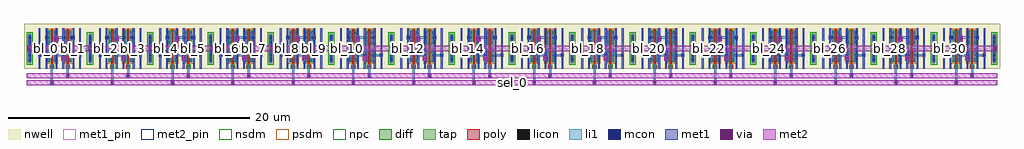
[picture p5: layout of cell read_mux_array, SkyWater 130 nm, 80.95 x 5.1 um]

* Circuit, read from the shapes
.subckt read_mux_array bl_0 bl_1 bl_10 bl_11 bl_12 bl_13 bl_14 bl_15 bl_16 bl_17 bl_18 bl_19 bl_2 bl_20 bl_21 bl_22 bl_23 bl_24 bl_25 bl_26 bl_27 bl_28 bl_29 bl_3 bl_30 bl_31 bl_4 bl_5 bl_6 bl_7 bl_8 bl_9 bl_out_0 bl_out_1 bl_out_10 bl_out_11 bl_out_12 bl_out_13 bl_out_14 bl_out_15 bl_out_2 bl_out_3 bl_out_4 bl_out_5 bl_out_6 bl_out_7 bl_out_8 bl_out_9 br_0 br_1 br_10 br_11 br_12 br_13 br_14 br_15 br_16 br_17 br_18 br_19 br_2 br_20 br_21 br_22 br_23 br_24 br_25 br_26 br_27 br_28 br_29 br_3 br_30 br_31 br_4 br_5 br_6 br_7 br_8 br_9 br_out_0 br_out_1 br_out_10 br_out_11 br_out_12 br_out_13 br_out_14 br_out_15 br_out_2 br_out_3 br_out_4 br_out_5 br_out_6 br_out_7 br_out_8 br_out_9 sel_0 sel_1 vdd
XM1 br_out_0 sel_0 br_0 vdd sky130_fd_pr__pfet_01v8 w=1.2 l=0.15
XM2 bl_out_0 sel_0 bl_0 vdd sky130_fd_pr__pfet_01v8 w=1.2 l=0.15
XM3 br_1 sel_1 br_out_0 vdd sky130_fd_pr__pfet_01v8 w=1.2 l=0.15
XM4 bl_1 sel_1 bl_out_0 vdd sky130_fd_pr__pfet_01v8 w=1.2 l=0.15
XM5 br_out_1 sel_0 br_2 vdd sky130_fd_pr__pfet_01v8 w=1.2 l=0.15
XM6 bl_out_1 sel_0 bl_2 vdd sky130_fd_pr__pfet_01v8 w=1.2 l=0.15
XM7 br_3 sel_1 br_out_1 vdd sky130_fd_pr__pfet_01v8 w=1.2 l=0.15
XM8 bl_3 sel_1 bl_out_1 vdd sky130_fd_pr__pfet_01v8 w=1.2 l=0.15
XM9 br_out_2 sel_0 br_4 vdd sky130_fd_pr__pfet_01v8 w=1.2 l=0.15
XM10 bl_out_2 sel_0 bl_4 vdd sky130_fd_pr__pfet_01v8 w=1.2 l=0.15
XM11 br_5 sel_1 br_out_2 vdd sky130_fd_pr__pfet_01v8 w=1.2 l=0.15
XM12 bl_5 sel_1 bl_out_2 vdd sky130_fd_pr__pfet_01v8 w=1.2 l=0.15
XM13 br_out_3 sel_0 br_6 vdd sky130_fd_pr__pfet_01v8 w=1.2 l=0.15
XM14 bl_out_3 sel_0 bl_6 vdd sky130_fd_pr__pfet_01v8 w=1.2 l=0.15
XM15 br_7 sel_1 br_out_3 vdd sky130_fd_pr__pfet_01v8 w=1.2 l=0.15
XM16 bl_7 sel_1 bl_out_3 vdd sky130_fd_pr__pfet_01v8 w=1.2 l=0.15
XM17 br_out_4 sel_0 br_8 vdd sky130_fd_pr__pfet_01v8 w=1.2 l=0.15
XM18 bl_out_4 sel_0 bl_8 vdd sky130_fd_pr__pfet_01v8 w=1.2 l=0.15
XM19 br_9 sel_1 br_out_4 vdd sky130_fd_pr__pfet_01v8 w=1.2 l=0.15
XM20 bl_9 sel_1 bl_out_4 vdd sky130_fd_pr__pfet_01v8 w=1.2 l=0.15
XM21 br_out_5 sel_0 br_10 vdd sky130_fd_pr__pfet_01v8 w=1.2 l=0.15
XM22 bl_out_5 sel_0 bl_10 vdd sky130_fd_pr__pfet_01v8 w=1.2 l=0.15
XM23 br_11 sel_1 br_out_5 vdd sky130_fd_pr__pfet_01v8 w=1.2 l=0.15
XM24 bl_11 sel_1 bl_out_5 vdd sky130_fd_pr__pfet_01v8 w=1.2 l=0.15
XM25 br_out_6 sel_0 br_12 vdd sky130_fd_pr__pfet_01v8 w=1.2 l=0.15
XM26 bl_out_6 sel_0 bl_12 vdd sky130_fd_pr__pfet_01v8 w=1.2 l=0.15
XM27 br_13 sel_1 br_out_6 vdd sky130_fd_pr__pfet_01v8 w=1.2 l=0.15
XM28 bl_13 sel_1 bl_out_6 vdd sky130_fd_pr__pfet_01v8 w=1.2 l=0.15
XM29 br_out_7 sel_0 br_14 vdd sky130_fd_pr__pfet_01v8 w=1.2 l=0.15
XM30 bl_out_7 sel_0 bl_14 vdd sky130_fd_pr__pfet_01v8 w=1.2 l=0.15
XM31 br_15 sel_1 br_out_7 vdd sky130_fd_pr__pfet_01v8 w=1.2 l=0.15
XM32 bl_15 sel_1 bl_out_7 vdd sky130_fd_pr__pfet_01v8 w=1.2 l=0.15
XM33 br_out_8 sel_0 br_16 vdd sky130_fd_pr__pfet_01v8 w=1.2 l=0.15
XM34 bl_out_8 sel_0 bl_16 vdd sky130_fd_pr__pfet_01v8 w=1.2 l=0.15
XM35 br_17 sel_1 br_out_8 vdd sky130_fd_pr__pfet_01v8 w=1.2 l=0.15
XM36 bl_17 sel_1 bl_out_8 vdd sky130_fd_pr__pfet_01v8 w=1.2 l=0.15
XM37 br_out_9 sel_0 br_18 vdd sky130_fd_pr__pfet_01v8 w=1.2 l=0.15
XM38 bl_out_9 sel_0 bl_18 vdd sky130_fd_pr__pfet_01v8 w=1.2 l=0.15
XM39 br_19 sel_1 br_out_9 vdd sky130_fd_pr__pfet_01v8 w=1.2 l=0.15
XM40 bl_19 sel_1 bl_out_9 vdd sky130_fd_pr__pfet_01v8 w=1.2 l=0.15
XM41 br_out_10 sel_0 br_20 vdd sky130_fd_pr__pfet_01v8 w=1.2 l=0.15
XM42 bl_out_10 sel_0 bl_20 vdd sky130_fd_pr__pfet_01v8 w=1.2 l=0.15
XM43 br_21 sel_1 br_out_10 vdd sky130_fd_pr__pfet_01v8 w=1.2 l=0.15
XM44 bl_21 sel_1 bl_out_10 vdd sky130_fd_pr__pfet_01v8 w=1.2 l=0.15
XM45 br_out_11 sel_0 br_22 vdd sky130_fd_pr__pfet_01v8 w=1.2 l=0.15
XM46 bl_out_11 sel_0 bl_22 vdd sky130_fd_pr__pfet_01v8 w=1.2 l=0.15
XM47 br_23 sel_1 br_out_11 vdd sky130_fd_pr__pfet_01v8 w=1.2 l=0.15
XM48 bl_23 sel_1 bl_out_11 vdd sky130_fd_pr__pfet_01v8 w=1.2 l=0.15
XM49 br_out_12 sel_0 br_24 vdd sky130_fd_pr__pfet_01v8 w=1.2 l=0.15
XM50 bl_out_12 sel_0 bl_24 vdd sky130_fd_pr__pfet_01v8 w=1.2 l=0.15
XM51 br_25 sel_1 br_out_12 vdd sky130_fd_pr__pfet_01v8 w=1.2 l=0.15
XM52 bl_25 sel_1 bl_out_12 vdd sky130_fd_pr__pfet_01v8 w=1.2 l=0.15
XM53 br_out_13 sel_0 br_26 vdd sky130_fd_pr__pfet_01v8 w=1.2 l=0.15
XM54 bl_out_13 sel_0 bl_26 vdd sky130_fd_pr__pfet_01v8 w=1.2 l=0.15
XM55 br_27 sel_1 br_out_13 vdd sky130_fd_pr__pfet_01v8 w=1.2 l=0.15
XM56 bl_27 sel_1 bl_out_13 vdd sky130_fd_pr__pfet_01v8 w=1.2 l=0.15
XM57 br_out_14 sel_0 br_28 vdd sky130_fd_pr__pfet_01v8 w=1.2 l=0.15
XM58 bl_out_14 sel_0 bl_28 vdd sky130_fd_pr__pfet_01v8 w=1.2 l=0.15
XM59 br_29 sel_1 br_out_14 vdd sky130_fd_pr__pfet_01v8 w=1.2 l=0.15
XM60 bl_29 sel_1 bl_out_14 vdd sky130_fd_pr__pfet_01v8 w=1.2 l=0.15
XM61 br_out_15 sel_0 br_30 vdd sky130_fd_pr__pfet_01v8 w=1.2 l=0.15
XM62 bl_out_15 sel_0 bl_30 vdd sky130_fd_pr__pfet_01v8 w=1.2 l=0.15
XM63 br_31 sel_1 br_out_15 vdd sky130_fd_pr__pfet_01v8 w=1.2 l=0.15
XM64 bl_31 sel_1 bl_out_15 vdd sky130_fd_pr__pfet_01v8 w=1.2 l=0.15
.ends

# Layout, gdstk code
from math import pi, radians
import gdstk
lib = gdstk.Library(unit=1e-6, precision=1e-09)
def R(c, l, rs):  # rectangles x0, y0, x1, y1
    for r in rs: c.add(gdstk.rectangle(r[:2], r[2:], *l))
def A(c, l, x, y, w, h, nx, ny, dx, dy):  # array of equal rectangles
    R(c, l, [(x+i*dx, y+j*dy, x+i*dx+w, y+j*dy+h) for i in range(nx) for j in range(ny)])
nwell = (64, 20)
diff = (65, 20)
tap = (65, 44)
poly = (66, 20)
licon = (66, 44)
li1 = (67, 20)
mcon = (67, 44)
met1_pin = (68, 16)
met1 = (68, 20)
via = (68, 44)
met2_pin = (69, 16)
met2 = (69, 20)
nsdm = (93, 44)
psdm = (94, 20)
npc = (95, 20)

polyc_1x1h = lib.new_cell('polyc_1x1h')
R(polyc_1x1h, poly, [(-0.08,-0.05,0.25,0.22)])
R(polyc_1x1h, licon, [(0,0,0.17,0.17)])
R(polyc_1x1h, li1, [(-0.08,0,0.25,0.17)])
R(polyc_1x1h, npc, [(-0.1,-0.1,0.27,0.27)])

pdiffc_1x3h = lib.new_cell('pdiffc_1x3h')
R(pdiffc_1x3h, nwell, [(-0.24,-0.22,1.09,0.39)])
R(pdiffc_1x3h, diff, [(-0.06,-0.04,0.91,0.21)])
A(pdiffc_1x3h, licon, 0, 0, 0.17, 0.17, 3, 1, 0.34, 0)
R(pdiffc_1x3h, li1, [(-0.08,0,0.93,0.17)])
R(pdiffc_1x3h, psdm, [(-0.185,-0.165,1.035,0.335)])

ptx__pmos_svt_1200_150_1 = lib.new_cell('ptx__pmos_svt_1200_150_1__pmos_svt_1200_150_1')
R(ptx__pmos_svt_1200_150_1, nwell, [(-0.18,-0.18,1.38,0.86), (1.29,-0.18,2.85,0.86)])
R(ptx__pmos_svt_1200_150_1, diff, [(0,0,1.2,0.68), (1.47,0,2.67,0.68)])
R(ptx__pmos_svt_1200_150_1, poly, [(-0.19,0.265,2.8,0.415)])
R(ptx__pmos_svt_1200_150_1, psdm, [(-0.125,-0.125,1.325,0.805), (-0.125,-0.125,2.795,0.805)])
R(ptx__pmos_svt_1200_150_1, npc, [(-0.54,0.155,-0.17,0.525)])
ptx__pmos_svt_1200_150_1.add(gdstk.Reference(polyc_1x1h, (-0.44,0.255)))
ptx__pmos_svt_1200_150_1.add(gdstk.Reference(pdiffc_1x3h, (0.175,0.04)))
ptx__pmos_svt_1200_150_1.add(gdstk.Reference(pdiffc_1x3h, (1.645,0.04)))
ptx__pmos_svt_1200_150_1.add(gdstk.Reference(pdiffc_1x3h, (0.175,0.47)))
ptx__pmos_svt_1200_150_1.add(gdstk.Reference(pdiffc_1x3h, (1.645,0.47)))

viali_1x1v = lib.new_cell('viali_1x1v')
R(viali_1x1v, li1, [(0,0,0.17,0.17)])
R(viali_1x1v, mcon, [(0,0,0.17,0.17)])
R(viali_1x1v, met1, [(-0.03,-0.06,0.2,0.23)])

read_mux_route = lib.new_cell('read_mux_route')
R(read_mux_route, li1, [(-0.64,0.095,-0.47,1.105), (-0.21,0.095,-0.04,1.105), (1.1,0.095,1.27,1.105), (-1.435,0.515,-0.47,0.685), (-0.21,0.515,0.67,0.685), (1.1,0.515,2.065,0.685), (-0.64,1.565,-0.47,2.575), (-0.21,1.565,-0.04,2.575), (1.1,1.565,1.27,2.575), (-0.875,1.985,-0.47,2.155), (-0.21,1.985,0.67,2.155), (1.1,1.985,1.505,2.155)])
R(read_mux_route, met1, [(-1.435,-0.54,-1.295,2.85), (-0.875,-0.54,-0.735,2.85), (-0.035,-0.54,0.105,2.85), (0.525,-0.54,0.665,2.85), (1.365,-0.54,1.505,2.85), (1.925,-0.54,2.065,2.85)])
read_mux_route.add(gdstk.Reference(viali_1x1v, (-0.875,1.985)))
read_mux_route.add(gdstk.Reference(viali_1x1v, (1.335,1.985)))
read_mux_route.add(gdstk.Reference(viali_1x1v, (-1.435,0.515)))
read_mux_route.add(gdstk.Reference(viali_1x1v, (1.895,0.515)))
read_mux_route.add(gdstk.Reference(viali_1x1v, (-0.05,1.985)))
read_mux_route.add(gdstk.Reference(viali_1x1v, (0.51,0.515)))

read_mux = lib.new_cell('read_mux')
R(read_mux, met1, [(-1.435,-0.54,-1.295,2.85), (-0.875,-0.54,-0.735,2.85), (-0.035,-0.54,0.105,2.85), (0.525,-0.54,0.665,2.85), (1.365,-0.54,1.505,2.85), (1.925,-0.54,2.065,2.85)])
read_mux.add(gdstk.Reference(ptx__pmos_svt_1200_150_1, (0,0), rotation=pi/2))
read_mux.add(gdstk.Reference(ptx__pmos_svt_1200_150_1, (1.31,0), rotation=pi/2))
read_mux.add(gdstk.Reference(read_mux_route, (0,0)))

read_mux_array_core = lib.new_cell('read_mux_array_core')
read_mux_array_core.add(gdstk.Reference(read_mux, (0,0)))
read_mux_array_core.add(gdstk.Reference(read_mux, (5,0)))
read_mux_array_core.add(gdstk.Reference(read_mux, (10,0)))
read_mux_array_core.add(gdstk.Reference(read_mux, (15,0)))
read_mux_array_core.add(gdstk.Reference(read_mux, (20,0)))
read_mux_array_core.add(gdstk.Reference(read_mux, (25,0)))
read_mux_array_core.add(gdstk.Reference(read_mux, (30,0)))
read_mux_array_core.add(gdstk.Reference(read_mux, (35,0)))
read_mux_array_core.add(gdstk.Reference(read_mux, (40,0)))
read_mux_array_core.add(gdstk.Reference(read_mux, (45,0)))
read_mux_array_core.add(gdstk.Reference(read_mux, (50,0)))
read_mux_array_core.add(gdstk.Reference(read_mux, (55,0)))
read_mux_array_core.add(gdstk.Reference(read_mux, (60,0)))
read_mux_array_core.add(gdstk.Reference(read_mux, (65,0)))
read_mux_array_core.add(gdstk.Reference(read_mux, (70,0)))
read_mux_array_core.add(gdstk.Reference(read_mux, (75,0)))

ntap_7x1v = lib.new_cell('ntap_7x1v')
R(ntap_7x1v, tap, [(-0.04,-0.12,0.21,2.33)])
A(ntap_7x1v, licon, 0, 0, 0.17, 0.17, 1, 7, 0, 0.34)
R(ntap_7x1v, li1, [(0,-0.08,0.17,2.29)])
R(ntap_7x1v, nsdm, [(-0.165,-0.245,0.335,2.455)])

viali_6x1v = lib.new_cell('viali_6x1v')
R(viali_6x1v, li1, [(0,0,0.17,1.97)])
A(viali_6x1v, mcon, 0, 0, 0.17, 0.17, 1, 6, 0, 0.36)
R(viali_6x1v, met1, [(-0.03,-0.06,0.2,2.03)])

read_mux_tap_cell = lib.new_cell('read_mux_tap_cell')
read_mux_tap_cell.add(gdstk.Reference(ntap_7x1v, (0,0)))
read_mux_tap_cell.add(gdstk.Reference(viali_6x1v, (0,0.12)))

read_mux_array_taps = lib.new_cell('read_mux_array_taps')
read_mux_array_taps.add(gdstk.Reference(read_mux_tap_cell, (0,0)))
read_mux_array_taps.add(gdstk.Reference(read_mux_tap_cell, (5,0)))
read_mux_array_taps.add(gdstk.Reference(read_mux_tap_cell, (10,0)))
read_mux_array_taps.add(gdstk.Reference(read_mux_tap_cell, (15,0)))
read_mux_array_taps.add(gdstk.Reference(read_mux_tap_cell, (20,0)))
read_mux_array_taps.add(gdstk.Reference(read_mux_tap_cell, (25,0)))
read_mux_array_taps.add(gdstk.Reference(read_mux_tap_cell, (30,0)))
read_mux_array_taps.add(gdstk.Reference(read_mux_tap_cell, (35,0)))
read_mux_array_taps.add(gdstk.Reference(read_mux_tap_cell, (40,0)))
read_mux_array_taps.add(gdstk.Reference(read_mux_tap_cell, (45,0)))
read_mux_array_taps.add(gdstk.Reference(read_mux_tap_cell, (50,0)))
read_mux_array_taps.add(gdstk.Reference(read_mux_tap_cell, (55,0)))
read_mux_array_taps.add(gdstk.Reference(read_mux_tap_cell, (60,0)))
read_mux_array_taps.add(gdstk.Reference(read_mux_tap_cell, (65,0)))
read_mux_array_taps.add(gdstk.Reference(read_mux_tap_cell, (70,0)))
read_mux_array_taps.add(gdstk.Reference(read_mux_tap_cell, (75,0)))
read_mux_array_taps.add(gdstk.Reference(read_mux_tap_cell, (80,0)))

via1_1x1v = lib.new_cell('via1_1x1v')
R(via1_1x1v, met1, [(-0.055,-0.085,0.205,0.235)])
R(via1_1x1v, via, [(0,0,0.15,0.15)])
R(via1_1x1v, met2, [(-0.055,-0.085,0.205,0.235)])

read_mux_array_route = lib.new_cell('read_mux_array_route')
A(read_mux_array_route, li1, -0.425, -1.89, 0.17, 1.54, 16, 1, 5, 0)
A(read_mux_array_route, li1, 0.885, -1.33, 0.17, 0.98, 16, 1, 5, 0)
R(read_mux_array_route, li1, [(-0.425,-0.52,-0.255,-0.19), (0.885,-0.52,1.055,-0.19), (4.575,-0.52,4.745,-0.19), (5.885,-0.52,6.055,-0.19), (9.575,-0.52,9.745,-0.19), (10.885,-0.52,11.055,-0.19), (14.575,-0.52,14.745,-0.19), (15.885,-0.52,16.055,-0.19), (19.575,-0.52,19.745,-0.19), (20.885,-0.52,21.055,-0.19), (24.575,-0.52,24.745,-0.19), (25.885,-0.52,26.055,-0.19), (29.575,-0.52,29.745,-0.19), (30.885,-0.52,31.055,-0.19), (34.575,-0.52,34.745,-0.19), (35.885,-0.52,36.055,-0.19), (39.575,-0.52,39.745,-0.19), (40.885,-0.52,41.055,-0.19), (44.575,-0.52,44.745,-0.19), (45.885,-0.52,46.055,-0.19), (49.575,-0.52,49.745,-0.19), (50.885,-0.52,51.055,-0.19), (54.575,-0.52,54.745,-0.19), (55.885,-0.52,56.055,-0.19), (59.575,-0.52,59.745,-0.19), (60.885,-0.52,61.055,-0.19), (64.575,-0.52,64.745,-0.19), (65.885,-0.52,66.055,-0.19), (69.575,-0.52,69.745,-0.19), (70.885,-0.52,71.055,-0.19), (74.575,-0.52,74.745,-0.19), (75.885,-0.52,76.055,-0.19)])
A(read_mux_array_route, met2, 0.425, 0.145, 0.34, 0.42, 16, 1, 5, 0)
A(read_mux_array_route, met2, -0.135, 1.745, 0.34, 0.42, 16, 1, 5, 0)
R(read_mux_array_route, met2, [(-2.435,-1.89,78.065,-1.47), (-2.435,-1.33,78.065,-0.91), (-2.4,0.945,78.03,1.365)])
read_mux_array_route.add(gdstk.Reference(viali_1x1v, (-0.425,-1.765)))
read_mux_array_route.add(gdstk.Reference(via1_1x1v, (-0.415,-1.755)))
read_mux_array_route.add(gdstk.Reference(viali_1x1v, (0.885,-1.205)))
read_mux_array_route.add(gdstk.Reference(via1_1x1v, (0.895,-1.195)))
read_mux_array_route.add(gdstk.Reference(viali_1x1v, (4.575,-1.765)))
read_mux_array_route.add(gdstk.Reference(via1_1x1v, (4.585,-1.755)))
read_mux_array_route.add(gdstk.Reference(viali_1x1v, (5.885,-1.205)))
read_mux_array_route.add(gdstk.Reference(via1_1x1v, (5.895,-1.195)))
read_mux_array_route.add(gdstk.Reference(viali_1x1v, (9.575,-1.765)))
read_mux_array_route.add(gdstk.Reference(via1_1x1v, (9.585,-1.755)))
read_mux_array_route.add(gdstk.Reference(viali_1x1v, (10.885,-1.205)))
read_mux_array_route.add(gdstk.Reference(via1_1x1v, (10.895,-1.195)))
read_mux_array_route.add(gdstk.Reference(viali_1x1v, (14.575,-1.765)))
read_mux_array_route.add(gdstk.Reference(via1_1x1v, (14.585,-1.755)))
read_mux_array_route.add(gdstk.Reference(viali_1x1v, (15.885,-1.205)))
read_mux_array_route.add(gdstk.Reference(via1_1x1v, (15.895,-1.195)))
read_mux_array_route.add(gdstk.Reference(viali_1x1v, (19.575,-1.765)))
read_mux_array_route.add(gdstk.Reference(via1_1x1v, (19.585,-1.755)))
read_mux_array_route.add(gdstk.Reference(viali_1x1v, (20.885,-1.205)))
read_mux_array_route.add(gdstk.Reference(via1_1x1v, (20.895,-1.195)))
read_mux_array_route.add(gdstk.Reference(viali_1x1v, (24.575,-1.765)))
read_mux_array_route.add(gdstk.Reference(via1_1x1v, (24.585,-1.755)))
read_mux_array_route.add(gdstk.Reference(viali_1x1v, (25.885,-1.205)))
read_mux_array_route.add(gdstk.Reference(via1_1x1v, (25.895,-1.195)))
read_mux_array_route.add(gdstk.Reference(viali_1x1v, (29.575,-1.765)))
read_mux_array_route.add(gdstk.Reference(via1_1x1v, (29.585,-1.755)))
read_mux_array_route.add(gdstk.Reference(viali_1x1v, (30.885,-1.205)))
read_mux_array_route.add(gdstk.Reference(via1_1x1v, (30.895,-1.195)))
read_mux_array_route.add(gdstk.Reference(viali_1x1v, (34.575,-1.765)))
read_mux_array_route.add(gdstk.Reference(via1_1x1v, (34.585,-1.755)))
read_mux_array_route.add(gdstk.Reference(viali_1x1v, (35.885,-1.205)))
read_mux_array_route.add(gdstk.Reference(via1_1x1v, (35.895,-1.195)))
read_mux_array_route.add(gdstk.Reference(viali_1x1v, (39.575,-1.765)))
read_mux_array_route.add(gdstk.Reference(via1_1x1v, (39.585,-1.755)))
read_mux_array_route.add(gdstk.Reference(viali_1x1v, (40.885,-1.205)))
read_mux_array_route.add(gdstk.Reference(via1_1x1v, (40.895,-1.195)))
read_mux_array_route.add(gdstk.Reference(viali_1x1v, (44.575,-1.765)))
read_mux_array_route.add(gdstk.Reference(via1_1x1v, (44.585,-1.755)))
read_mux_array_route.add(gdstk.Reference(viali_1x1v, (45.885,-1.205)))
read_mux_array_route.add(gdstk.Reference(via1_1x1v, (45.895,-1.195)))
read_mux_array_route.add(gdstk.Reference(viali_1x1v, (49.575,-1.765)))
read_mux_array_route.add(gdstk.Reference(via1_1x1v, (49.585,-1.755)))
read_mux_array_route.add(gdstk.Reference(viali_1x1v, (50.885,-1.205)))
read_mux_array_route.add(gdstk.Reference(via1_1x1v, (50.895,-1.195)))
read_mux_array_route.add(gdstk.Reference(viali_1x1v, (54.575,-1.765)))
read_mux_array_route.add(gdstk.Reference(via1_1x1v, (54.585,-1.755)))
read_mux_array_route.add(gdstk.Reference(viali_1x1v, (55.885,-1.205)))
read_mux_array_route.add(gdstk.Reference(via1_1x1v, (55.895,-1.195)))
read_mux_array_route.add(gdstk.Reference(viali_1x1v, (59.575,-1.765)))
read_mux_array_route.add(gdstk.Reference(via1_1x1v, (59.585,-1.755)))
read_mux_array_route.add(gdstk.Reference(viali_1x1v, (60.885,-1.205)))
read_mux_array_route.add(gdstk.Reference(via1_1x1v, (60.895,-1.195)))
read_mux_array_route.add(gdstk.Reference(viali_1x1v, (64.575,-1.765)))
read_mux_array_route.add(gdstk.Reference(via1_1x1v, (64.585,-1.755)))
read_mux_array_route.add(gdstk.Reference(viali_1x1v, (65.885,-1.205)))
read_mux_array_route.add(gdstk.Reference(via1_1x1v, (65.895,-1.195)))
read_mux_array_route.add(gdstk.Reference(viali_1x1v, (69.575,-1.765)))
read_mux_array_route.add(gdstk.Reference(via1_1x1v, (69.585,-1.755)))
read_mux_array_route.add(gdstk.Reference(viali_1x1v, (70.885,-1.205)))
read_mux_array_route.add(gdstk.Reference(via1_1x1v, (70.895,-1.195)))
read_mux_array_route.add(gdstk.Reference(viali_1x1v, (74.575,-1.765)))
read_mux_array_route.add(gdstk.Reference(via1_1x1v, (74.585,-1.755)))
read_mux_array_route.add(gdstk.Reference(viali_1x1v, (75.885,-1.205)))
read_mux_array_route.add(gdstk.Reference(via1_1x1v, (75.895,-1.195)))
read_mux_array_route.add(gdstk.Reference(via1_1x1v, (-2.26,1.08)))
read_mux_array_route.add(gdstk.Reference(via1_1x1v, (2.74,1.08)))
read_mux_array_route.add(gdstk.Reference(via1_1x1v, (7.74,1.08)))
read_mux_array_route.add(gdstk.Reference(via1_1x1v, (12.74,1.08)))
read_mux_array_route.add(gdstk.Reference(via1_1x1v, (17.74,1.08)))
read_mux_array_route.add(gdstk.Reference(via1_1x1v, (22.74,1.08)))
read_mux_array_route.add(gdstk.Reference(via1_1x1v, (27.74,1.08)))
read_mux_array_route.add(gdstk.Reference(via1_1x1v, (32.74,1.08)))
read_mux_array_route.add(gdstk.Reference(via1_1x1v, (37.74,1.08)))
read_mux_array_route.add(gdstk.Reference(via1_1x1v, (42.74,1.08)))
read_mux_array_route.add(gdstk.Reference(via1_1x1v, (47.74,1.08)))
read_mux_array_route.add(gdstk.Reference(via1_1x1v, (52.74,1.08)))
read_mux_array_route.add(gdstk.Reference(via1_1x1v, (57.74,1.08)))
read_mux_array_route.add(gdstk.Reference(via1_1x1v, (62.74,1.08)))
read_mux_array_route.add(gdstk.Reference(via1_1x1v, (67.74,1.08)))
read_mux_array_route.add(gdstk.Reference(via1_1x1v, (72.74,1.08)))
read_mux_array_route.add(gdstk.Reference(via1_1x1v, (77.74,1.08)))
read_mux_array_route.add(gdstk.Reference(via1_1x1v, (-0.04,1.88)))
read_mux_array_route.add(gdstk.Reference(via1_1x1v, (0.52,0.28)))
read_mux_array_route.add(gdstk.Reference(via1_1x1v, (4.96,1.88)))
read_mux_array_route.add(gdstk.Reference(via1_1x1v, (5.52,0.28)))
read_mux_array_route.add(gdstk.Reference(via1_1x1v, (9.96,1.88)))
read_mux_array_route.add(gdstk.Reference(via1_1x1v, (10.52,0.28)))
read_mux_array_route.add(gdstk.Reference(via1_1x1v, (14.96,1.88)))
read_mux_array_route.add(gdstk.Reference(via1_1x1v, (15.52,0.28)))
read_mux_array_route.add(gdstk.Reference(via1_1x1v, (19.96,1.88)))
read_mux_array_route.add(gdstk.Reference(via1_1x1v, (20.52,0.28)))
read_mux_array_route.add(gdstk.Reference(via1_1x1v, (24.96,1.88)))
read_mux_array_route.add(gdstk.Reference(via1_1x1v, (25.52,0.28)))
read_mux_array_route.add(gdstk.Reference(via1_1x1v, (29.96,1.88)))
read_mux_array_route.add(gdstk.Reference(via1_1x1v, (30.52,0.28)))
read_mux_array_route.add(gdstk.Reference(via1_1x1v, (34.96,1.88)))
read_mux_array_route.add(gdstk.Reference(via1_1x1v, (35.52,0.28)))
read_mux_array_route.add(gdstk.Reference(via1_1x1v, (39.96,1.88)))
read_mux_array_route.add(gdstk.Reference(via1_1x1v, (40.52,0.28)))
read_mux_array_route.add(gdstk.Reference(via1_1x1v, (44.96,1.88)))
read_mux_array_route.add(gdstk.Reference(via1_1x1v, (45.52,0.28)))
read_mux_array_route.add(gdstk.Reference(via1_1x1v, (49.96,1.88)))
read_mux_array_route.add(gdstk.Reference(via1_1x1v, (50.52,0.28)))
read_mux_array_route.add(gdstk.Reference(via1_1x1v, (54.96,1.88)))
read_mux_array_route.add(gdstk.Reference(via1_1x1v, (55.52,0.28)))
read_mux_array_route.add(gdstk.Reference(via1_1x1v, (59.96,1.88)))
read_mux_array_route.add(gdstk.Reference(via1_1x1v, (60.52,0.28)))
read_mux_array_route.add(gdstk.Reference(via1_1x1v, (64.96,1.88)))
read_mux_array_route.add(gdstk.Reference(via1_1x1v, (65.52,0.28)))
read_mux_array_route.add(gdstk.Reference(via1_1x1v, (69.96,1.88)))
read_mux_array_route.add(gdstk.Reference(via1_1x1v, (70.52,0.28)))
read_mux_array_route.add(gdstk.Reference(via1_1x1v, (74.96,1.88)))
read_mux_array_route.add(gdstk.Reference(via1_1x1v, (75.52,0.28)))

read_mux_array = lib.new_cell('read_mux_array')
R(read_mux_array, nwell, [(-2.66,-0.54,78.29,3.21)])
R(read_mux_array, met1_pin, [(-1.435,-0.54,-1.295,2.85), (-0.875,-0.54,-0.735,2.85), (1.365,-0.54,1.505,2.85), (1.925,-0.54,2.065,2.85), (3.565,-0.54,3.705,2.85), (4.125,-0.54,4.265,2.85), (6.365,-0.54,6.505,2.85), (6.925,-0.54,7.065,2.85), (8.565,-0.54,8.705,2.85), (9.125,-0.54,9.265,2.85), (11.365,-0.54,11.505,2.85), (11.925,-0.54,12.065,2.85), (13.565,-0.54,13.705,2.85), (14.125,-0.54,14.265,2.85), (16.365,-0.54,16.505,2.85), (16.925,-0.54,17.065,2.85), (18.565,-0.54,18.705,2.85), (19.125,-0.54,19.265,2.85), (21.365,-0.54,21.505,2.85), (21.925,-0.54,22.065,2.85), (23.565,-0.54,23.705,2.85), (24.125,-0.54,24.265,2.85), (26.365,-0.54,26.505,2.85), (26.925,-0.54,27.065,2.85), (28.565,-0.54,28.705,2.85), (29.125,-0.54,29.265,2.85), (31.365,-0.54,31.505,2.85), (31.925,-0.54,32.065,2.85), (33.565,-0.54,33.705,2.85), (34.125,-0.54,34.265,2.85), (36.365,-0.54,36.505,2.85), (36.925,-0.54,37.065,2.85), (38.565,-0.54,38.705,2.85), (39.125,-0.54,39.265,2.85), (41.365,-0.54,41.505,2.85), (41.925,-0.54,42.065,2.85), (43.565,-0.54,43.705,2.85), (44.125,-0.54,44.265,2.85), (46.365,-0.54,46.505,2.85), (46.925,-0.54,47.065,2.85), (48.565,-0.54,48.705,2.85), (49.125,-0.54,49.265,2.85), (51.365,-0.54,51.505,2.85), (51.925,-0.54,52.065,2.85), (53.565,-0.54,53.705,2.85), (54.125,-0.54,54.265,2.85), (56.365,-0.54,56.505,2.85), (56.925,-0.54,57.065,2.85), (58.565,-0.54,58.705,2.85), (59.125,-0.54,59.265,2.85), (61.365,-0.54,61.505,2.85), (61.925,-0.54,62.065,2.85), (63.565,-0.54,63.705,2.85), (64.125,-0.54,64.265,2.85), (66.365,-0.54,66.505,2.85), (66.925,-0.54,67.065,2.85), (68.565,-0.54,68.705,2.85), (69.125,-0.54,69.265,2.85), (71.365,-0.54,71.505,2.85), (71.925,-0.54,72.065,2.85), (73.565,-0.54,73.705,2.85), (74.125,-0.54,74.265,2.85), (76.365,-0.54,76.505,2.85), (76.925,-0.54,77.065,2.85)])
A(read_mux_array, met2_pin, 0.425, 0.145, 0.34, 0.42, 16, 1, 5, 0)
A(read_mux_array, met2_pin, -0.135, 1.745, 0.34, 0.42, 16, 1, 5, 0)
R(read_mux_array, met2_pin, [(-2.435,-1.89,78.065,-1.47), (-2.435,-1.33,78.065,-0.91), (-2.4,0.945,78.03,1.365)])
read_mux_array.add(gdstk.Reference(read_mux_array_core, (0,0)))
read_mux_array.add(gdstk.Reference(read_mux_array_taps, (-2.27,0.05)))
read_mux_array.add(gdstk.Reference(read_mux_array_route, (0,0)))
read_mux_array.add(gdstk.Label('bl_0', (-0.805,1.155), layer=68, texttype=16))
read_mux_array.add(gdstk.Label('bl_1', (1.435,1.155), layer=68, texttype=16))
read_mux_array.add(gdstk.Label('br_0', (-1.365,1.155), layer=68, texttype=16))
read_mux_array.add(gdstk.Label('br_1', (1.995,1.155), layer=68, texttype=16))
read_mux_array.add(gdstk.Label('bl_2', (4.195,1.155), layer=68, texttype=16))
read_mux_array.add(gdstk.Label('bl_3', (6.435,1.155), layer=68, texttype=16))
read_mux_array.add(gdstk.Label('br_2', (3.635,1.155), layer=68, texttype=16))
read_mux_array.add(gdstk.Label('br_3', (6.995,1.155), layer=68, texttype=16))
read_mux_array.add(gdstk.Label('bl_4', (9.195,1.155), layer=68, texttype=16))
read_mux_array.add(gdstk.Label('bl_5', (11.435,1.155), layer=68, texttype=16))
read_mux_array.add(gdstk.Label('br_4', (8.635,1.155), layer=68, texttype=16))
read_mux_array.add(gdstk.Label('br_5', (11.995,1.155), layer=68, texttype=16))
read_mux_array.add(gdstk.Label('bl_6', (14.195,1.155), layer=68, texttype=16))
read_mux_array.add(gdstk.Label('bl_7', (16.435,1.155), layer=68, texttype=16))
read_mux_array.add(gdstk.Label('br_6', (13.635,1.155), layer=68, texttype=16))
read_mux_array.add(gdstk.Label('br_7', (16.995,1.155), layer=68, texttype=16))
read_mux_array.add(gdstk.Label('bl_8', (19.195,1.155), layer=68, texttype=16))
read_mux_array.add(gdstk.Label('bl_9', (21.435,1.155), layer=68, texttype=16))
read_mux_array.add(gdstk.Label('br_8', (18.635,1.155), layer=68, texttype=16))
read_mux_array.add(gdstk.Label('br_9', (21.995,1.155), layer=68, texttype=16))
read_mux_array.add(gdstk.Label('bl_10', (24.195,1.155), layer=68, texttype=16))
read_mux_array.add(gdstk.Label('bl_11', (26.435,1.155), layer=68, texttype=16))
read_mux_array.add(gdstk.Label('br_10', (23.635,1.155), layer=68, texttype=16))
read_mux_array.add(gdstk.Label('br_11', (26.995,1.155), layer=68, texttype=16))
read_mux_array.add(gdstk.Label('bl_12', (29.195,1.155), layer=68, texttype=16))
read_mux_array.add(gdstk.Label('bl_13', (31.435,1.155), layer=68, texttype=16))
read_mux_array.add(gdstk.Label('br_12', (28.635,1.155), layer=68, texttype=16))
read_mux_array.add(gdstk.Label('br_13', (31.995,1.155), layer=68, texttype=16))
read_mux_array.add(gdstk.Label('bl_14', (34.195,1.155), layer=68, texttype=16))
read_mux_array.add(gdstk.Label('bl_15', (36.435,1.155), layer=68, texttype=16))
read_mux_array.add(gdstk.Label('br_14', (33.635,1.155), layer=68, texttype=16))
read_mux_array.add(gdstk.Label('br_15', (36.995,1.155), layer=68, texttype=16))
read_mux_array.add(gdstk.Label('bl_16', (39.195,1.155), layer=68, texttype=16))
read_mux_array.add(gdstk.Label('bl_17', (41.435,1.155), layer=68, texttype=16))
read_mux_array.add(gdstk.Label('br_16', (38.635,1.155), layer=68, texttype=16))
read_mux_array.add(gdstk.Label('br_17', (41.995,1.155), layer=68, texttype=16))
read_mux_array.add(gdstk.Label('bl_18', (44.195,1.155), layer=68, texttype=16))
read_mux_array.add(gdstk.Label('bl_19', (46.435,1.155), layer=68, texttype=16))
read_mux_array.add(gdstk.Label('br_18', (43.635,1.155), layer=68, texttype=16))
read_mux_array.add(gdstk.Label('br_19', (46.995,1.155), layer=68, texttype=16))
read_mux_array.add(gdstk.Label('bl_20', (49.195,1.155), layer=68, texttype=16))
read_mux_array.add(gdstk.Label('bl_21', (51.435,1.155), layer=68, texttype=16))
read_mux_array.add(gdstk.Label('br_20', (48.635,1.155), layer=68, texttype=16))
read_mux_array.add(gdstk.Label('br_21', (51.995,1.155), layer=68, texttype=16))
read_mux_array.add(gdstk.Label('bl_22', (54.195,1.155), layer=68, texttype=16))
read_mux_array.add(gdstk.Label('bl_23', (56.435,1.155), layer=68, texttype=16))
read_mux_array.add(gdstk.Label('br_22', (53.635,1.155), layer=68, texttype=16))
read_mux_array.add(gdstk.Label('br_23', (56.995,1.155), layer=68, texttype=16))
read_mux_array.add(gdstk.Label('bl_24', (59.195,1.155), layer=68, texttype=16))
read_mux_array.add(gdstk.Label('bl_25', (61.435,1.155), layer=68, texttype=16))
read_mux_array.add(gdstk.Label('br_24', (58.635,1.155), layer=68, texttype=16))
read_mux_array.add(gdstk.Label('br_25', (61.995,1.155), layer=68, texttype=16))
read_mux_array.add(gdstk.Label('bl_26', (64.195,1.155), layer=68, texttype=16))
read_mux_array.add(gdstk.Label('bl_27', (66.435,1.155), layer=68, texttype=16))
read_mux_array.add(gdstk.Label('br_26', (63.635,1.155), layer=68, texttype=16))
read_mux_array.add(gdstk.Label('br_27', (66.995,1.155), layer=68, texttype=16))
read_mux_array.add(gdstk.Label('bl_28', (69.195,1.155), layer=68, texttype=16))
read_mux_array.add(gdstk.Label('bl_29', (71.435,1.155), layer=68, texttype=16))
read_mux_array.add(gdstk.Label('br_28', (68.635,1.155), layer=68, texttype=16))
read_mux_array.add(gdstk.Label('br_29', (71.995,1.155), layer=68, texttype=16))
read_mux_array.add(gdstk.Label('bl_30', (74.195,1.155), layer=68, texttype=16))
read_mux_array.add(gdstk.Label('bl_31', (76.435,1.155), layer=68, texttype=16))
read_mux_array.add(gdstk.Label('br_30', (73.635,1.155), layer=68, texttype=16))
read_mux_array.add(gdstk.Label('br_31', (76.995,1.155), layer=68, texttype=16))
read_mux_array.add(gdstk.Label('sel_0', (37.815,-1.68), layer=69, texttype=16))
read_mux_array.add(gdstk.Label('sel_1', (37.815,-1.12), layer=69, texttype=16))
read_mux_array.add(gdstk.Label('vdd', (37.815,1.155), layer=69, texttype=16))
read_mux_array.add(gdstk.Label('bl_out_0', (0.035,1.955), layer=69, texttype=16))
read_mux_array.add(gdstk.Label('br_out_0', (0.595,0.355), layer=69, texttype=16))
read_mux_array.add(gdstk.Label('bl_out_1', (5.035,1.955), layer=69, texttype=16))
read_mux_array.add(gdstk.Label('br_out_1', (5.595,0.355), layer=69, texttype=16))
read_mux_array.add(gdstk.Label('bl_out_2', (10.035,1.955), layer=69, texttype=16))
read_mux_array.add(gdstk.Label('br_out_2', (10.595,0.355), layer=69, texttype=16))
read_mux_array.add(gdstk.Label('bl_out_3', (15.035,1.955), layer=69, texttype=16))
read_mux_array.add(gdstk.Label('br_out_3', (15.595,0.355), layer=69, texttype=16))
read_mux_array.add(gdstk.Label('bl_out_4', (20.035,1.955), layer=69, texttype=16))
read_mux_array.add(gdstk.Label('br_out_4', (20.595,0.355), layer=69, texttype=16))
read_mux_array.add(gdstk.Label('bl_out_5', (25.035,1.955), layer=69, texttype=16))
read_mux_array.add(gdstk.Label('br_out_5', (25.595,0.355), layer=69, texttype=16))
read_mux_array.add(gdstk.Label('bl_out_6', (30.035,1.955), layer=69, texttype=16))
read_mux_array.add(gdstk.Label('br_out_6', (30.595,0.355), layer=69, texttype=16))
read_mux_array.add(gdstk.Label('bl_out_7', (35.035,1.955), layer=69, texttype=16))
read_mux_array.add(gdstk.Label('br_out_7', (35.595,0.355), layer=69, texttype=16))
read_mux_array.add(gdstk.Label('bl_out_8', (40.035,1.955), layer=69, texttype=16))
read_mux_array.add(gdstk.Label('br_out_8', (40.595,0.355), layer=69, texttype=16))
read_mux_array.add(gdstk.Label('bl_out_9', (45.035,1.955), layer=69, texttype=16))
read_mux_array.add(gdstk.Label('br_out_9', (45.595,0.355), layer=69, texttype=16))
read_mux_array.add(gdstk.Label('bl_out_10', (50.035,1.955), layer=69, texttype=16))
read_mux_array.add(gdstk.Label('br_out_10', (50.595,0.355), layer=69, texttype=16))
read_mux_array.add(gdstk.Label('bl_out_11', (55.035,1.955), layer=69, texttype=16))
read_mux_array.add(gdstk.Label('br_out_11', (55.595,0.355), layer=69, texttype=16))
read_mux_array.add(gdstk.Label('bl_out_12', (60.035,1.955), layer=69, texttype=16))
read_mux_array.add(gdstk.Label('br_out_12', (60.595,0.355), layer=69, texttype=16))
read_mux_array.add(gdstk.Label('bl_out_13', (65.035,1.955), layer=69, texttype=16))
read_mux_array.add(gdstk.Label('br_out_13', (65.595,0.355), layer=69, texttype=16))
read_mux_array.add(gdstk.Label('bl_out_14', (70.035,1.955), layer=69, texttype=16))
read_mux_array.add(gdstk.Label('br_out_14', (70.595,0.355), layer=69, texttype=16))
read_mux_array.add(gdstk.Label('bl_out_15', (75.035,1.955), layer=69, texttype=16))
read_mux_array.add(gdstk.Label('br_out_15', (75.595,0.355), layer=69, texttype=16))

lib.write_gds('read_mux_array.gds')
